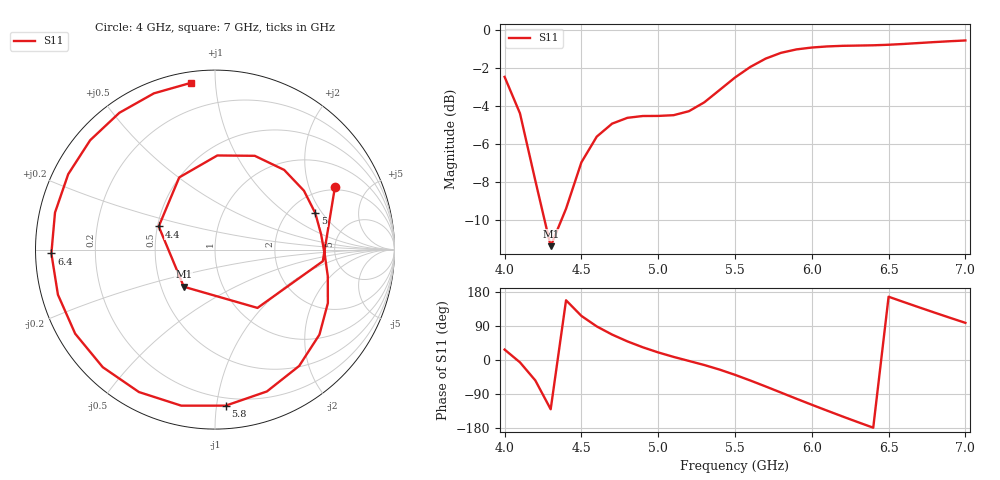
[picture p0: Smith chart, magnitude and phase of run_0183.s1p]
! Touchstone file exported from HFSS 2024.2.0
!  File:  C:/Users/wsak9/Desktop/Sim Fast/Widenad Patch/WP_AI_V1_sweep.aedt
!  Generated:  10:35:18 PM Oct 13, 2026
!  Design:  A1_model
!  Project:  WP_AI_V1_sweep
!  Setup:  Setup1
!  Solution:  Sweep
! Variables:
!  Air_gap = 2.77mm
!  Curve_Amp1 = 0.65
!  Curve_len1 = 1
!  Curve_pos = 12.885mm
!  Extra = 2.52mm
!  H_sub = 0.79mm
!  L_Patch = 21.77mm
!  L_Patch1 = 18.94mm
!  Sx = 2.02mm
!  Sy = 4.79mm
!  WS = 1.12mm
!  W_Patch = 17.44mm
!  W_Patch1 = 16.42mm
!Data is not renormalized
# GHz S MA
! Terminal data exported
! Port[1] = 1
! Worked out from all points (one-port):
!   31 points, 4 GHz to 7 GHz, reference per port
!   lowest |S11| = -11.4 dB at 4.3 GHz (marker M1), VSWR 1.74
!   |S11| at or under -10 dB: 4.26 GHz to 4.369 GHz (108.9 MHz wide, 2.52 % of centre)
!   S11 on the Smith chart (normalised r, x): 4 GHz: 1.87, +3.01; 4.4 GHz: 0.51, +0.15; 5 GHz: 2.74, +1.72; 5.8 GHz: 0.15, -1.06; 6.4 GHz: 0.05, -0.01; 7 GHz: 0.06, +0.87
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4  0.7532 27.5
4.1  0.604 -6.2
4.2  0.4019 -53.9
4.3  0.2702 -130.0
4.4  0.339 157.6
4.5  0.449 116.3
4.6  0.5246 88.6
4.7  0.5675 67.0
4.8  0.5879 49.0
4.9  0.5943 33.5
5  0.5946 20.0
5.2  0.6119 -2.5
5.4  0.6958 -25.3
5.5  0.7503 -39.1
5.6  0.8001 -54.1
5.7  0.8415 -69.9
5.8  0.8714 -86.1
5.9  0.8896 -102.2
6  0.8997 -118.1
6.1  0.9057 -133.7
6.2  0.9091 -149.0
6.3  0.9105 -164.0
6.4  0.912 -178.6
6.5  0.915 167.0
6.6  0.9195 152.8
6.7  0.9247 138.8
6.9  0.9347 111.4
7  0.9391 98.0
